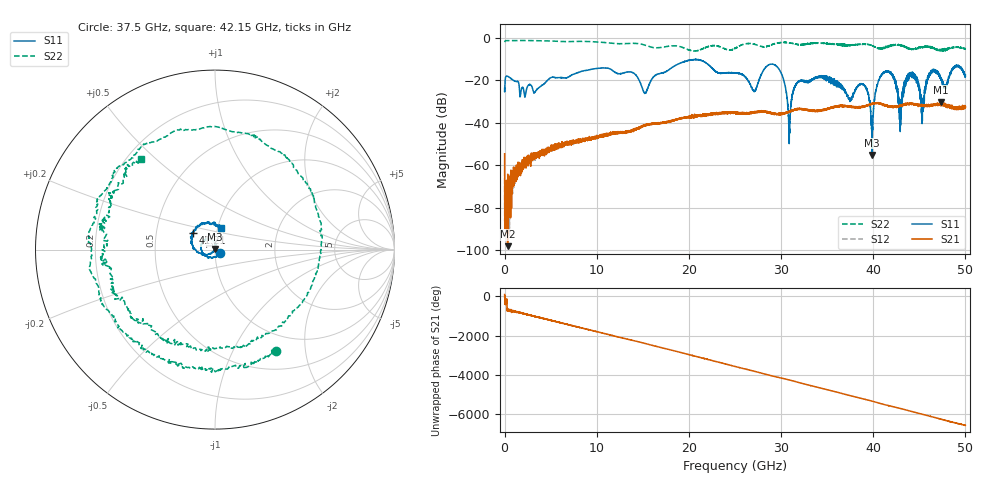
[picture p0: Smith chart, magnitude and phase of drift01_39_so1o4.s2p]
!Created with skrf (http://scikit-rf.org).
# Hz S RI R 50.0
!freq ReS11 ImS11 ReS21 ImS21 ReS12 ImS12 ReS22 ImS22
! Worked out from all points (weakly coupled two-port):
!   10001 points, 300 kHz to 50 GHz, reference 50 ohm
!   highest |S21| = -30.51 dB at 47.37 GHz (marker M1); lowest = -98.2 dB at 325.3 MHz (marker M2)
!   lowest |S11| = -55.2 dB at 39.87 GHz (marker M3), VSWR 1.00, Z = 49.9 + j0.0922 ohm
!   |S11| at or under -10 dB: start of sweep to end of sweep
!   |S22| runs from -6.5 to -1.4 dB; largest |S21 - S12| = 0.0044
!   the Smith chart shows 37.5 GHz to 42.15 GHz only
!   S11 on the Smith chart (normalised r, x): 37.5 GHz: 1.05, -0.05; 41.21 GHz: 0.77, +0.15; 42.15 GHz: 1.03, +0.25
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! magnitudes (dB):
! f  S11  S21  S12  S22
! 300 kHz  -23.9  -54.7  -66.3  -2.1
! 325.3 MHz  -18.1  -98.2  -72.9  -1.4
! 8.335 GHz  -15.9  -49.1  -48.5  -1.8
! 16.67 GHz  -17.0  -40.0  -40.0  -4.8
! 25 GHz  -16.6  -35.6  -35.3  -5.1
! 27.1 GHz  -25.3  -35.2  -35.1  -3.1
! 29.43 GHz  -13.2  -35.8  -36.0  -2.8
! 30.91 GHz  -44.3  -34.9  -34.7  -2.6
! 31.67 GHz  -21.6  -33.9  -33.7  -3.2
! 33.34 GHz  -19.9  -34.4  -34.4  -2.6
! 37.5 GHz  -29.2  -32.4  -32.4  -3.7
! 38.95 GHz  -22.1  -32.5  -32.5  -3.1
! 39.87 GHz  -55.2  -31.0  -31.1  -3.8
! 41.21 GHz  -16.3  -31.8  -31.6  -4.7
! 41.67 GHz  -16.0  -32.2  -32.3  -4.1
! 42.15 GHz  -18.3  -32.7  -32.6  -3.7
! 42.92 GHz  -37.1  -32.3  -32.1  -3.6
! 43.97 GHz  -17.1  -31.1  -31.4  -5.4
! 45.3 GHz  -40.5  -32.4  -31.8  -4.5
! 46.27 GHz  -15.5  -31.8  -31.8  -4.4
! 47.37 GHz  -19.6  -30.5  -31.4  -6.0
! 50 GHz  -17.6  -32.6  -33.0  -5.4
